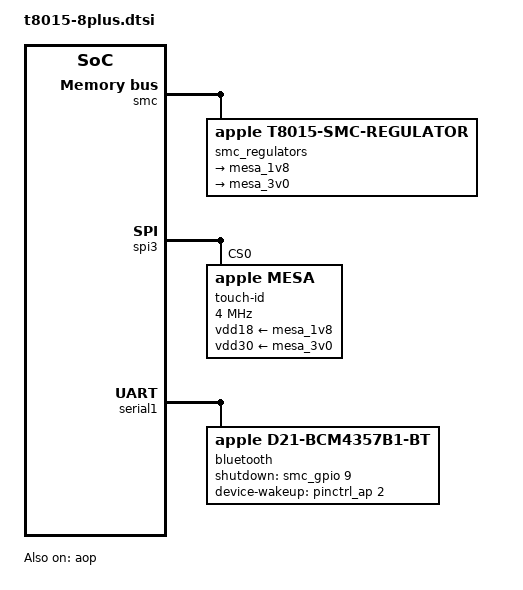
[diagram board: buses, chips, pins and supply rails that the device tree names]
// SPDX-License-Identifier: GPL-2.0+ OR MIT
/*
 * Apple iPhone 8 Plus common device tree
 *
 * Copyright (c) 2022, Konrad Dybcio <konradybcio@kernel.org>
 */

/* The 8 Plus has minor differences like 1 more camera, 1 GiB of RAM more and a bigger display. */
#include "t8015-8.dtsi"

&smc {
	smc_regulators: regulators {
		compatible = "apple,t8015-smc-regulator";

		mesa_1v8: mesa-1v8 {
			regulator-name = "mesa-1v8";
		};

		mesa_3v0: mesa-3v0 {
			regulator-name = "mesa-3v0";
		};
	};
};

&spi3 {
	status = "okay";

	/* Touch ID sensor: SPI mode 2 (clock idles high, sample on the first edge) */
	touch-id@0 {
		compatible = "apple,mesa";
		reg = <0>;
		spi-max-frequency = <4000000>;
		spi-cpol;
		vdd18-supply = <&mesa_1v8>;
		vdd30-supply = <&mesa_3v0>;
	};
};

/ {
	aliases {
		aop = &aop; /* m1n1 passes the AOP its boot arguments and calibration */
		bluetooth0 = &bluetooth; /* m1n1 adds the unit's device address */
		serial1 = &serial1;
	};
};

/* The AOP firmware comes from the IPSW (Firmware/AOP/aopfw-iphone10aop). */
&aop {
	firmware-name = "apple/aop-t8015.bin", "apple/aop-t8015-ext.bin";
	status = "okay";
};

&aop_mbox {
	status = "okay";
};

/*
 * Measured on an iPhone 8 Plus: the accelerometer reports gravity on the
 * device's axes (x right, y up, z out of the screen), as on the iPad 5 and
 * the A9 iPhones: upright y = -1 g, flat screen up z = -1 g. iio-sensor-proxy
 * takes upright as negative y and needs z flipped. The gyroscope turns
 * positive about z when the phone spins anticlockwise screen up.
 */
&aop_accel {
	mount-matrix = "1", "0", "0",
		       "0", "1", "0",
		       "0", "0", "-1";
};

&aop_gyro {
	mount-matrix = "1", "0", "0",
		       "0", "1", "0",
		       "0", "0", "1";
};

/*
 * Bluetooth: the BCM4357's Bluetooth half, on UART1 (ADT uart1/bluetooth).
 * The pins follow the ADT's function-tx (211, RX next) and function-rts
 * (213, CTS next); power is the SMC GPIO key gP09, as the Wi-Fi half's is
 * gP0e, and BT_WAKE is AP GPIO 2.
 */
&pinctrl_ap {
	bluetooth_uart1_pins: bluetooth-uart1-pins {
		pinmux = <APPLE_PINMUX(211, 1)>,
			 <APPLE_PINMUX(212, 1)>,
			 <APPLE_PINMUX(213, 1)>,
			 <APPLE_PINMUX(214, 1)>;
	};
};

&serial1 {
	pinctrl-0 = <&bluetooth_uart1_pins>;
	pinctrl-names = "default";
	uart-has-rtscts;
	status = "okay";

	bluetooth: bluetooth {
		compatible = "apple,d21-bcm4357b1-bt";
		current-speed = <115200>;
		/* UART1 runs from the 24 MHz reference: 1.5 Mbaud at most */
		max-speed = <1500000>;
		shutdown-gpios = <&smc_gpio 9 GPIO_ACTIVE_HIGH>;
		device-wakeup-gpios = <&pinctrl_ap 2 GPIO_ACTIVE_HIGH>;
	};
};
